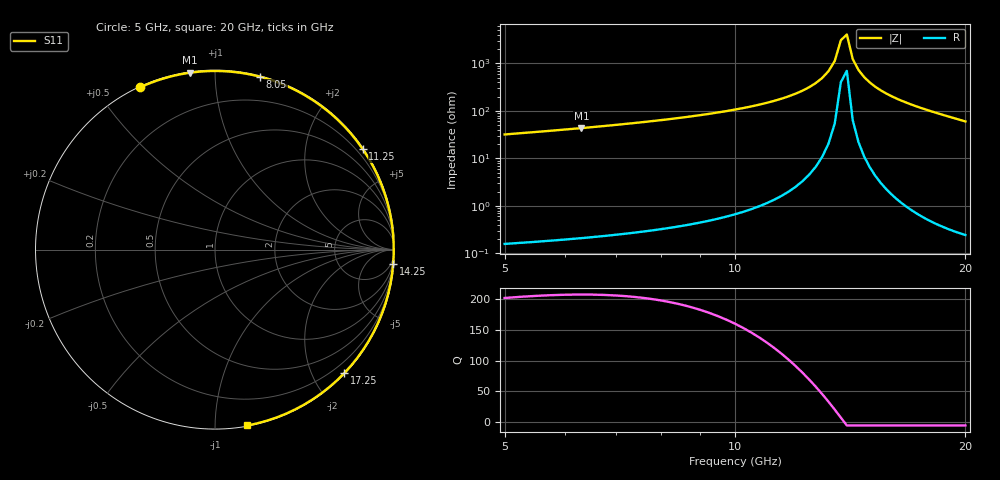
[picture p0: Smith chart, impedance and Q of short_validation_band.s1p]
! SHORT 1 -F- ; user supplied values restricted to validation band 5-20 GHz
# Hz S RI R 50
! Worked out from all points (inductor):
!   129 points, 5 GHz to 20 GHz, reference 50 ohm
!   read as one part to ground: L = 877 pH near 5 GHz
!   highest Q = 207 at 6.3 GHz (marker M1), where L = 1.1 nH
!   self-resonance near 13.75 GHz
!   S11 on the Smith chart (normalised r, x): 5 GHz: 0.00, +0.64; 8.05 GHz: 0.01, +1.29; 11.25 GHz: 0.03, +3.26; 14.25 GHz: 1, -25; 17.25 GHz: 0.01, -2.50; 20 GHz: 0.00, -1.20
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5e9  -0.4185 0.9033
5.65e9  -0.2815 0.9547
6.3e9  -0.1388 0.9855
6.9e9  -0.0045 0.9951
7.45e9  0.1186 0.988
8.05e9  0.2506 0.963
8.75e9  0.3986 0.9118
9.25e9  0.4985 0.8613
9.75e9  0.592 0.7999
1.025e10  0.6781 0.7284
1.075e10  0.7557 0.6477
1.125e10  0.8237 0.5588
1.2e10  0.906 0.4124
1.25e10  0.9467 0.3079
1.3e10  0.9755 0.1994
1.35e10  0.9918 0.0883
1.425e10  0.9926 -0.0804
1.45e10  0.9865 -0.1363
1.525e10  0.9493 -0.3012
1.575e10  0.9092 -0.4067
1.625e10  0.8574 -0.507
1.675e10  0.7944 -0.601
1.725e10  0.7211 -0.6873
1.775e10  0.6383 -0.7647
1.825e10  0.5473 -0.8323
1.875e10  0.449 -0.8892
1.925e10  0.3448 -0.9345
2e10  0.1805 -0.9795
